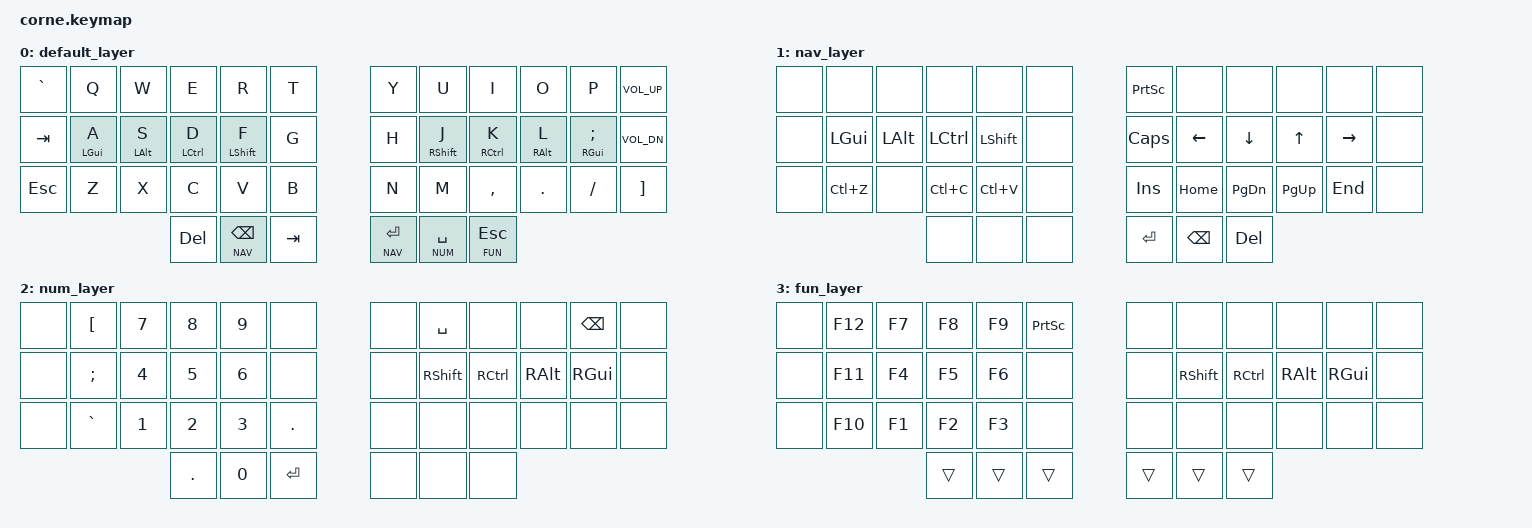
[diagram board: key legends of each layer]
/*
 * Copyright (c) 2020 The ZMK Contributors
 *
 * SPDX-License-Identifier: MIT
 */

#include <behaviors.dtsi>
#include <dt-bindings/zmk/keys.h>
#include <dt-bindings/zmk/bt.h>
#include <dt-bindings/zmk/outputs.h>
#include <behaviors.dtsi>

#define DEF 0
#define NAV 1
#define NUM 2
#define FUN 3

&lt { quick-tap-ms = <219>; };
&mt { quick-tap-ms = <219>; };

/ {
    behaviors {
        hml: home_row_mod_left {
            compatible = "zmk,behavior-hold-tap";
            #binding-cells = <2>;
            flavor = "balanced";
            require-prior-idle-ms = <150>;
            tapping-term-ms = <280>;
            quick-tap-ms = <175>;
            bindings = <&kp>, <&kp>;
            hold-trigger-key-positions = <6 7 8 9 10 11 18 19 20 21 22 23 30 31 32 33 34 35 39 40 41>; // List of keys on the right side of the keyboard
            hold-trigger-on-release;
        };
        hmr: home_row_mod_right {
            compatible = "zmk,behavior-hold-tap";
            #binding-cells = <2>;
            flavor = "balanced";
            require-prior-idle-ms = <150>;
            tapping-term-ms = <280>;
            quick-tap-ms = <175>;
            bindings = <&kp>, <&kp>;
            hold-trigger-key-positions = <0 1 2 3 4 5 12 13 14 15 16 17 24 25 26 27 28 29 36 37 38>; // List of keys on the left side of the keyboard
            hold-trigger-on-release;
        };
    };

    combos {
        compatible = "zmk,combos";

        ParaLeft {
            bindings = <&kp LEFT_PARENTHESIS>;
            key-positions = <4 5>;
            timeout-ms = <20>;
        };
        ParaRight {
            bindings = <&kp RIGHT_PARENTHESIS>;
            key-positions = <6 7>;
            timeout-ms = <20>;
        };

        BrakLeft {
            bindings = <&kp LEFT_BRACKET>;
            key-positions = <16 17>;
            timeout-ms = <20>;
        };
        BrakRight {
            bindings = <&kp RIGHT_BRACKET>;
            key-positions = <18 19>;
            timeout-ms = <20>;
        };

        BraceLeft {
            bindings = <&kp LEFT_BRACE>;
            key-positions = <28 29>;
            timeout-ms = <20>;
        };
        BraceRight {
            bindings = <&kp RIGHT_BRACE>;
            key-positions = <30 31>;
            timeout-ms = <20>;
        };

        MinusSign {
            bindings = <&kp MINUS>;
            key-positions = <3 4>;
            timeout-ms = <20>;
        };
        PlusSign {
            bindings = <&kp PLUS>;
            key-positions = <2 3>;
            timeout-ms = <20>;
        };
        UnderscoreSign {
            bindings = <&kp UNDERSCORE>;
            key-positions = <2 4>;
            timeout-ms = <25>;
        };
        EqualSign {
            bindings = <&kp EQUAL>;
            key-positions = <2 3 4>;
            timeout-ms = <28>;
        };

        SingleQuote {
            bindings = <&kp SQT>;
            key-positions = <7 8>;
            timeout-ms = <20>;
        };
        DoubleQuote {
            bindings = <&kp DQT>;
            key-positions = <8 9>;
            timeout-ms = <20>;
        };
        GraveSign {
            bindings = <&kp GRAVE>;
            key-positions = <7 9>;
            timeout-ms = <25>;
        };
        TildeSign {
            bindings = <&kp TILDE>;
            key-positions = <7 8 9>;
            timeout-ms = <28>;
        };

        AsteriskSign {
            bindings = <&kp ASTERISK>;
            key-positions = <4 16>;
            timeout-ms = <20>;
        };
        HashSign {
            bindings = <&kp HASH>;
            key-positions = <5 17>;
            timeout-ms = <20>;
        };
        ExclamationSign {
            bindings = <&kp EXCLAMATION>;
            key-positions = <17 29>;
            timeout-ms = <20>;
        };
        BackslashSign {
            bindings = <&kp BACKSLASH>;
            key-positions = <27 28>;
            timeout-ms = <20>;
        };

        AmpersandSign {
            bindings = <&kp AMPS>;
            key-positions = <7 19>;
            timeout-ms = <20>;
        };
        DollarSign {
            bindings = <&kp DOLLAR>;
            key-positions = <6 18>;
            timeout-ms = <20>;
        };
        AtSign {
            bindings = <&kp AT>;
            key-positions = <18 30>;
            timeout-ms = <20>;
        };
        PipeSign {
            bindings = <&kp PIPE>;
            key-positions = <31 32>;
            timeout-ms = <20>;
        };

        LangLeft {
            bindings = <&kp LG(SPACE)>;
            key-positions = <26 27 28>;
            timeout-ms = <28>;
        };
        LangRight {
            bindings = <&kp RG(SPACE)>;
            key-positions = <31 32 33>;
            timeout-ms = <28>;
        };

        // LangLeft {
        //     bindings = <&kp LG(SPACE)>;
        //     key-positions = <14 15 16>;
        //     timeout-ms = <28>;
        // };
        // LangRight {
        //     bindings = <&kp RG(SPACE)>;
        //     key-positions = <19 20 21>;
        //     timeout-ms = <28>;
        // };

        SpaceLeft {
            bindings = <&kp SPACE>;
            key-positions = <14 15 16>;
            timeout-ms = <28>;
        };
        SpaceRight {
            bindings = <&kp SPACE>;
            key-positions = <19 20 21>;
            timeout-ms = <28>;
        };

        // SpaceLeft {
        //     bindings = <&kp SPACE>;
        //     key-positions = <26 27 28>;
        //     timeout-ms = <28>;
        // };
        // SpaceRight {
        //     bindings = <&kp SPACE>;
        //     key-positions = <31 32 33>;
        //     timeout-ms = <28>;
        // };
    };
};
/ {
        keymap {
                compatible = "zmk,keymap";

                default_layer {
                        bindings = <
            // ╭─────────────┬─────────────┬─────────────┬─────────────┬─────────────┬─────────────╮   ╭─────────────┬─────────────┬─────────────┬─────────────┬─────────────┬─────────────╮
                  &kp GRAVE     &kp Q         &kp W         &kp E         &kp R         &kp T             &kp Y         &kp U         &kp I         &kp O         &kp P         &kp C_VOL_UP
            // ├─────────────┼─────────────┼─────────────┼─────────────┼─────────────┼─────────────┤   ├─────────────┼─────────────┼─────────────┼─────────────┼─────────────┼─────────────┤
                  &kp TAB     &hml LGUI A   &hml LALT S   &hml LCTRL D  &hml LSHIFT F   &kp G             &kp H       &hmr RSHIFT J &hmr RCTRL K  &hmr RALT L   &hmr RGUI SEMI  &kp C_VOL_DN
            // ├─────────────┼─────────────┼─────────────┼─────────────┼─────────────┼─────────────┤   ├─────────────┼─────────────┼─────────────┼─────────────┼─────────────┼─────────────┤
                  &kp ESC       &kp Z         &kp X         &kp C         &kp V         &kp B             &kp N         &kp M         &kp COMMA     &kp DOT       &kp FSLH      &kp RBKT
            // ╰─────────────┴─────────────┼─────────────┼─────────────┼─────────────┼─────────────┤   ├─────────────┼─────────────┼─────────────┼─────────────┼─────────────┴─────────────╯
                                                            &kp DEL      &lt NAV BSPC   &kp TAB         &lt NAV ENTER &lt NUM SPACE  &lt FUN ESC
            //                                           ╰─────────────┴─────────────┴─────────────╯   ╰─────────────┴─────────────┴─────────────╯
                        >;
                };
                nav_layer {
                        bindings = <
            // ╭─────────────┬─────────────┬─────────────┬─────────────┬─────────────┬─────────────╮   ╭─────────────┬─────────────┬─────────────┬─────────────┬─────────────┬─────────────╮
                  &none         &none         &none         &none         &none         &none             &kp PSCRN     &none         &none         &none         &none         &none       
            // ├─────────────┼─────────────┼─────────────┼─────────────┼─────────────┼─────────────┤   ├─────────────┼─────────────┼─────────────┼─────────────┼─────────────┼─────────────┤
                  &none         &kp LGUI      &kp LALT      &kp LCTRL     &kp LSHIFT    &none             &kp CAPS      &kp LEFT      &kp DOWN      &kp UP        &kp RIGHT     &none       
            // ├─────────────┼─────────────┼─────────────┼─────────────┼─────────────┼─────────────┤   ├─────────────┼─────────────┼─────────────┼─────────────┼─────────────┼─────────────┤
                  &none         &kp LC(Z)     &none         &kp LC(C)     &kp LC(V)     &none             &kp INS       &kp HOME      &kp PG_DN     &kp PG_UP     &kp END       &none       
            // ╰─────────────┴─────────────┼─────────────┼─────────────┼─────────────┼─────────────┤   ├─────────────┼─────────────┼─────────────┼─────────────┼─────────────┴─────────────╯
                                                            &none         &none         &none             &kp ENTER     &kp BSPC      &kp DEL     
            //                                           ╰─────────────┴─────────────┴─────────────╯   ╰─────────────┴─────────────┴─────────────╯
                        >;
                };
                num_layer {
                        bindings = <
            // ╭─────────────┬─────────────┬─────────────┬─────────────┬─────────────┬─────────────╮   ╭─────────────┬─────────────┬─────────────┬─────────────┬─────────────┬─────────────╮
                  &none         &kp LBKT      &kp N7        &kp N8        &kp N9        &none             &none         &kp SPACE     &none         &none         &kp BSPC      &none       
            // ├─────────────┼─────────────┼─────────────┼─────────────┼─────────────┼─────────────┤   ├─────────────┼─────────────┼─────────────┼─────────────┼─────────────┼─────────────┤
                  &none         &kp SEMI      &kp N4        &kp N5        &kp N6        &none             &none         &kp RSHFT     &kp RCTRL     &kp RALT      &kp RGUI      &none       
            // ├─────────────┼─────────────┼─────────────┼─────────────┼─────────────┼─────────────┤   ├─────────────┼─────────────┼─────────────┼─────────────┼─────────────┼─────────────┤
                  &none         &kp GRAVE     &kp N1        &kp N2        &kp N3        &kp DOT           &none         &none         &none         &none         &none         &none       
            // ╰─────────────┴─────────────┼─────────────┼─────────────┼─────────────┼─────────────┤   ├─────────────┼─────────────┼─────────────┼─────────────┼─────────────┴─────────────╯
                                                            &kp DOT       &kp N0        &kp ENTER         &none         &none         &none
            //                                           ╰─────────────┴─────────────┴─────────────╯   ╰─────────────┴─────────────┴─────────────╯
                        >; 
                };
                fun_layer {
                        bindings = <
            // ╭─────────────┬─────────────┬─────────────┬─────────────┬─────────────┬─────────────╮   ╭─────────────┬─────────────┬─────────────┬─────────────┬─────────────┬─────────────╮
                  &none         &kp F12       &kp F7        &kp F8        &kp F9         &kp PSCRN        &none         &none         &none         &none         &none         &none       
            // ├─────────────┼─────────────┼─────────────┼─────────────┼─────────────┼─────────────┤   ├─────────────┼─────────────┼─────────────┼─────────────┼─────────────┼─────────────┤
                  &none         &kp F11       &kp F4        &kp F5        &kp F6         &none            &none         &kp RSHFT     &kp RCTRL     &kp RALT      &kp RGUI      &none       
            // ├─────────────┼─────────────┼─────────────┼─────────────┼─────────────┼─────────────┤   ├─────────────┼─────────────┼─────────────┼─────────────┼─────────────┼─────────────┤
                  &none         &kp F10       &kp F1        &kp F2        &kp F3         &none            &none         &none         &none         &none         &none         &none       
            // ╰─────────────┴─────────────┼─────────────┼─────────────┼─────────────┼─────────────┤   ├─────────────┼─────────────┼─────────────┼─────────────┼─────────────┴─────────────╯
                                                              &trans        &trans        &trans            &trans       &trans        &trans
            //                                           ╰─────────────┴─────────────┴─────────────╯   ╰─────────────┴─────────────┴─────────────╯
                        >; 
                };
        };
};
